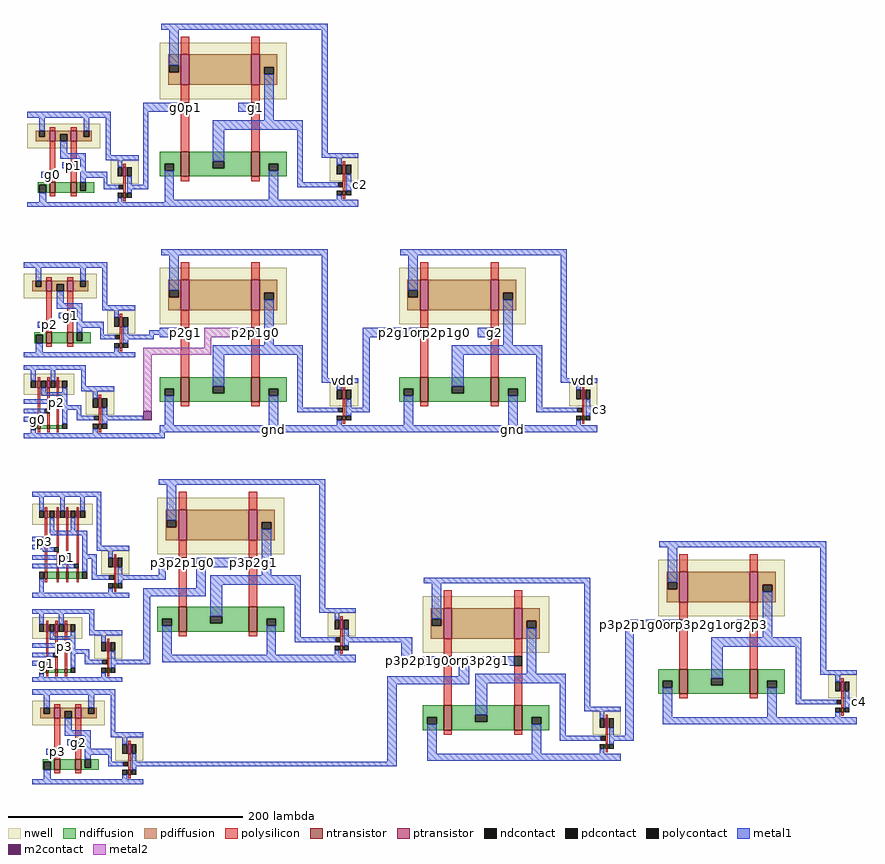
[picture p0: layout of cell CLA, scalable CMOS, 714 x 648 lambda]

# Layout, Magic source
magic
tech scmos
<< nwell >>
rect 81 -104 189 -56
rect 285 -104 393 -56
rect 226 -174 250 -154
rect 430 -174 454 -154
<< ntransistor >>
rect 99 -170 106 -149
rect 159 -170 166 -149
rect 303 -170 310 -149
rect 363 -170 370 -149
rect 237 -186 239 -182
rect 441 -186 443 -182
<< ptransistor >>
rect 99 -92 106 -66
rect 159 -92 166 -66
rect 303 -92 310 -66
rect 363 -92 370 -66
rect 237 -168 239 -160
rect 441 -168 443 -160
<< ndiffusion >>
rect 81 -159 99 -149
rect 81 -165 85 -159
rect 93 -165 99 -159
rect 81 -170 99 -165
rect 106 -157 159 -149
rect 106 -163 126 -157
rect 136 -163 159 -157
rect 106 -170 159 -163
rect 166 -159 189 -149
rect 166 -165 174 -159
rect 182 -165 189 -159
rect 285 -159 303 -149
rect 166 -170 189 -165
rect 285 -165 289 -159
rect 297 -165 303 -159
rect 285 -170 303 -165
rect 310 -157 363 -149
rect 310 -163 330 -157
rect 340 -163 363 -157
rect 310 -170 363 -163
rect 370 -159 393 -149
rect 370 -165 378 -159
rect 386 -165 393 -159
rect 370 -170 393 -165
rect 236 -186 237 -182
rect 239 -186 240 -182
rect 440 -186 441 -182
rect 443 -186 444 -182
<< pdiffusion >>
rect 88 -75 99 -66
rect 88 -81 89 -75
rect 97 -81 99 -75
rect 88 -92 99 -81
rect 106 -92 159 -66
rect 166 -77 181 -66
rect 166 -83 170 -77
rect 178 -83 181 -77
rect 166 -92 181 -83
rect 292 -75 303 -66
rect 292 -81 293 -75
rect 301 -81 303 -75
rect 292 -92 303 -81
rect 310 -92 363 -66
rect 370 -77 385 -66
rect 370 -83 374 -77
rect 382 -83 385 -77
rect 370 -92 385 -83
rect 236 -168 237 -160
rect 239 -168 240 -160
rect 440 -168 441 -160
rect 443 -168 444 -160
<< ndcontact >>
rect 85 -165 93 -159
rect 126 -163 136 -157
rect 174 -165 182 -159
rect 289 -165 297 -159
rect 330 -163 340 -157
rect 378 -165 386 -159
rect 232 -186 236 -182
rect 240 -186 244 -182
rect 436 -186 440 -182
rect 444 -186 448 -182
<< pdcontact >>
rect 89 -81 97 -75
rect 170 -83 178 -77
rect 293 -81 301 -75
rect 374 -83 382 -77
rect 232 -168 236 -160
rect 240 -168 244 -160
rect 436 -168 440 -160
rect 444 -168 448 -160
<< polysilicon >>
rect 99 -66 106 -51
rect 159 -66 166 -51
rect 303 -66 310 -51
rect 363 -66 370 -51
rect 99 -107 106 -92
rect 99 -149 106 -115
rect 159 -107 166 -92
rect 159 -149 166 -115
rect 303 -107 310 -92
rect 303 -149 310 -115
rect 363 -107 370 -92
rect 363 -149 370 -115
rect 237 -160 239 -157
rect 99 -174 106 -170
rect 159 -174 166 -170
rect 237 -182 239 -168
rect 441 -160 443 -157
rect 303 -174 310 -170
rect 363 -174 370 -170
rect 441 -182 443 -168
rect 237 -189 239 -186
rect 441 -189 443 -186
<< polycontact >>
rect 99 -115 106 -107
rect 159 -115 166 -107
rect 303 -115 310 -107
rect 363 -115 370 -107
rect 233 -179 237 -175
rect 437 -179 441 -175
<< metal1 >>
rect 67 77 88 85
rect 67 11 71 77
rect 62 -4 88 0
rect 82 -45 224 -40
rect 286 -45 428 -40
rect 89 -75 97 -45
rect 81 -109 99 -107
rect 72 -113 99 -109
rect 64 -117 76 -113
rect 81 -115 99 -113
rect 155 -115 159 -107
rect 170 -122 178 -83
rect 126 -130 203 -122
rect 126 -157 136 -130
rect 46 -186 67 -182
rect 85 -190 93 -165
rect 174 -190 182 -165
rect 198 -175 203 -130
rect 219 -150 224 -45
rect 293 -75 301 -45
rect 254 -115 303 -107
rect 352 -115 363 -107
rect 219 -154 250 -150
rect 232 -160 236 -154
rect 240 -175 244 -168
rect 254 -175 260 -115
rect 374 -122 382 -83
rect 330 -130 407 -122
rect 330 -157 340 -130
rect 198 -179 233 -175
rect 240 -179 260 -175
rect 240 -182 244 -179
rect 232 -190 236 -186
rect 289 -190 297 -165
rect 378 -190 386 -165
rect 402 -175 407 -130
rect 423 -150 428 -45
rect 423 -154 454 -150
rect 436 -160 440 -154
rect 444 -175 448 -168
rect 402 -179 437 -175
rect 444 -179 458 -175
rect 444 -182 448 -179
rect 436 -190 440 -186
rect 81 -196 454 -190
rect 81 -197 85 -196
rect 42 -201 85 -197
rect 80 -318 86 -303
rect 59 -322 86 -318
rect 112 -311 146 -303
rect 112 -329 120 -311
rect 67 -336 120 -329
rect 67 -390 73 -336
rect 478 -364 513 -356
rect 252 -375 296 -371
rect 53 -394 73 -390
rect 287 -387 296 -375
rect 287 -395 312 -387
rect 336 -395 372 -387
rect 336 -404 345 -395
rect 275 -411 345 -404
rect 275 -477 283 -411
rect 478 -459 485 -364
rect 71 -481 283 -477
<< m2contact >>
rect 148 -115 155 -107
rect 67 -186 74 -178
<< metal2 >>
rect 119 -115 148 -107
rect 119 -124 125 -115
rect 67 -130 125 -124
rect 67 -178 74 -130
use AND2  AND2_0
transform 1 0 -7 0 1 56
box -25 -60 74 21
use OR  OR_0
transform 1 0 106 0 1 135
box -25 -139 148 17
use AND2  AND2_1
transform 1 0 -10 0 1 -72
box -25 -60 74 21
use AND3  AND3_0
transform 1 0 -3 0 1 -171
box -32 -30 49 32
use AND4  AND4_0
transform 1 0 -22 0 1 -269
box -6 -68 81 22
use AND3  AND3_1
transform 1 0 4 0 1 -379
box -32 -30 49 32
use OR  OR_1
transform 1 0 104 0 1 -253
box -25 -139 148 17
use AND2  AND2_2
transform 1 0 -3 0 1 -436
box -25 -60 74 21
use OR  OR_2
transform 1 0 330 0 1 -337
box -25 -139 148 17
use OR  OR_3
transform 1 0 531 0 1 -306
box -25 -139 148 17
<< labels >>
rlabel space -13 21 -8 26 1 g0
rlabel space 99 77 106 85 1 g0p1
rlabel space 159 77 166 85 1 g1
rlabel space 251 13 254 17 7 c2
rlabel metal1 226 -154 250 -150 5 vdd
rlabel metal1 178 -194 178 -194 1 gnd
rlabel metal1 430 -154 454 -150 5 vdd
rlabel metal1 382 -194 382 -194 1 gnd
rlabel space -16 -107 -11 -102 1 p2
rlabel space -9 -173 -5 -169 1 p2
rlabel space -17 -180 -13 -176 1 p1
rlabel space -25 -187 -21 -183 1 g0
rlabel polycontact 99 -115 106 -107 1 p2g1
rlabel polycontact 159 -115 166 -107 1 p2p1g0
rlabel polycontact 303 -115 310 -107 1 p2g1orp2p1g0
rlabel polycontact 363 -115 370 -107 1 g2
rlabel metal1 455 -179 458 -175 7 c3
rlabel space 5 29 10 34 1 p1
rlabel space 2 -99 7 -94 1 g1
rlabel space -19 -291 -15 -287 1 p3
rlabel space -9 -298 -5 -294 1 p2
rlabel space -1 -305 3 -301 1 p1
rlabel space 8 -312 12 -308 1 g0
rlabel space -2 -381 2 -377 1 p3
rlabel space -10 -388 -6 -384 1 p2
rlabel space -18 -395 -14 -391 1 g1
rlabel space 9 -463 14 -458 1 g2
rlabel space -9 -471 -4 -466 1 p3
rlabel space 97 -311 104 -303 1 p3p2p1g0
rlabel space 157 -311 164 -303 1 p3p2g1
rlabel space 323 -395 330 -387 1 p3p2p1g0orp3p2g1
rlabel space 383 -395 390 -387 1 p3g2
rlabel space 524 -364 531 -356 1 p3p2p1g0orp3p2g1org2p3
rlabel space 584 -364 591 -356 1 g3
rlabel space 676 -428 679 -424 7 c4
<< end >>

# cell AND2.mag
magic
tech scmos
<< nwell >>
rect -25 -10 37 11
<< ntransistor >>
rect -6 -48 -1 -39
rect 12 -48 17 -39
<< ptransistor >>
rect -6 -4 -1 5
rect 12 -4 17 5
<< ndiffusion >>
rect -16 -41 -6 -39
rect -16 -48 -15 -41
rect -9 -48 -6 -41
rect -1 -48 12 -39
rect 17 -46 20 -39
rect 25 -46 32 -39
rect 17 -48 32 -46
<< pdiffusion >>
rect -18 0 -15 5
rect -10 0 -6 5
rect -18 -4 -6 0
rect -1 2 12 5
rect -1 -4 3 2
rect 9 -4 12 2
rect 17 0 23 5
rect 28 0 30 5
rect 17 -4 30 0
<< ndcontact >>
rect -15 -48 -9 -41
rect 20 -46 25 -39
<< pdcontact >>
rect -15 0 -10 5
rect 3 -4 9 2
rect 23 0 28 5
<< polysilicon >>
rect -6 5 -1 8
rect 12 5 17 8
rect -6 -30 -1 -4
rect -6 -39 -1 -35
rect 12 -22 17 -4
rect 12 -39 17 -27
rect 53 -45 57 -41
rect -6 -51 -1 -48
rect 12 -51 17 -48
<< polycontact >>
rect -6 -35 -1 -30
rect 12 -27 17 -22
<< metal1 >>
rect -25 16 46 21
rect -15 5 -10 16
rect 23 5 28 16
rect 3 -14 9 -4
rect 3 -19 25 -14
rect 5 -27 12 -22
rect 20 -30 25 -19
rect 42 -20 46 16
rect -13 -35 -6 -30
rect 20 -35 43 -30
rect 20 -39 25 -35
rect 40 -41 43 -35
rect 40 -45 42 -41
rect -15 -56 -9 -48
rect -25 -60 46 -56
use NOTNOT  NOTNOT_0
transform 1 0 46 0 1 -40
box -4 -20 28 24
<< labels >>
rlabel metal1 4 18 4 18 5 vdd
<< end >>

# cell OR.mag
magic
tech scmos
<< nwell >>
rect -25 -47 83 1
<< ntransistor >>
rect -7 -113 0 -92
rect 53 -113 60 -92
<< ptransistor >>
rect -7 -35 0 -9
rect 53 -35 60 -9
<< ndiffusion >>
rect -25 -102 -7 -92
rect -25 -108 -21 -102
rect -13 -108 -7 -102
rect -25 -113 -7 -108
rect 0 -100 53 -92
rect 0 -106 20 -100
rect 30 -106 53 -100
rect 0 -113 53 -106
rect 60 -102 83 -92
rect 60 -108 68 -102
rect 76 -108 83 -102
rect 60 -113 83 -108
<< pdiffusion >>
rect -18 -18 -7 -9
rect -18 -24 -17 -18
rect -9 -24 -7 -18
rect -18 -35 -7 -24
rect 0 -35 53 -9
rect 60 -20 75 -9
rect 60 -26 64 -20
rect 72 -26 75 -20
rect 60 -35 75 -26
<< ndcontact >>
rect -21 -108 -13 -102
rect 20 -106 30 -100
rect 68 -108 76 -102
<< pdcontact >>
rect -17 -24 -9 -18
rect 64 -26 72 -20
<< polysilicon >>
rect -7 -9 0 6
rect 53 -9 60 6
rect -7 -50 0 -35
rect -7 -92 0 -58
rect 53 -50 60 -35
rect 53 -92 60 -58
rect -7 -117 0 -113
rect 53 -117 60 -113
rect 127 -122 131 -118
<< polycontact >>
rect -7 -58 0 -50
rect 53 -58 60 -50
<< metal1 >>
rect -24 12 118 17
rect -17 -18 -9 12
rect -18 -58 -7 -50
rect 42 -58 53 -50
rect 64 -65 72 -26
rect 20 -73 97 -65
rect 20 -100 30 -73
rect -21 -133 -13 -108
rect 68 -133 76 -108
rect 92 -118 97 -73
rect 113 -93 118 12
rect 113 -97 122 -93
rect 92 -122 116 -118
rect -21 -137 122 -133
rect -21 -139 144 -137
use NOTNOT  NOTNOT_0
transform 1 0 120 0 1 -117
box -4 -20 28 24
<< end >>

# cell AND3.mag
magic
tech scmos
<< nwell >>
rect -32 7 11 25
<< ntransistor >>
rect -20 -22 -18 -19
rect -12 -22 -10 -19
rect -4 -22 -2 -19
<< ptransistor >>
rect -20 13 -18 19
rect -12 13 -10 19
rect -4 13 -2 19
<< ndiffusion >>
rect -22 -22 -20 -19
rect -18 -22 -12 -19
rect -10 -22 -4 -19
rect -2 -22 1 -19
<< pdiffusion >>
rect -22 13 -20 19
rect -18 13 -17 19
rect -13 13 -12 19
rect -10 13 -9 19
rect -5 13 -4 19
rect -2 13 1 19
<< ndcontact >>
rect -26 -23 -22 -19
rect 1 -22 5 -18
<< pdcontact >>
rect -26 13 -22 19
rect -17 13 -13 19
rect -9 13 -5 19
rect 1 13 5 19
<< polysilicon >>
rect -20 19 -18 22
rect -12 19 -10 22
rect -4 19 -2 22
rect -20 -12 -18 13
rect -12 -5 -10 13
rect -4 3 -2 13
rect -20 -19 -18 -16
rect -12 -19 -10 -9
rect -4 -19 -2 -1
rect -20 -25 -18 -22
rect -12 -25 -10 -22
rect -4 -25 -2 -22
<< polycontact >>
rect -6 -1 -2 3
rect -14 -9 -10 -5
rect -22 -16 -18 -12
<< metal1 >>
rect -32 28 21 32
rect -26 19 -22 28
rect -9 19 -5 28
rect -17 9 -13 13
rect 1 9 5 13
rect 17 10 21 28
rect -17 6 5 9
rect -32 -1 -6 3
rect 1 -2 5 6
rect -32 -9 -14 -5
rect 1 -6 17 -2
rect -32 -16 -22 -12
rect 1 -18 5 -6
rect 13 -15 17 -6
rect -26 -26 -22 -23
rect -32 -30 21 -26
use NOT  NOT_0
transform 1 0 21 0 1 -10
box -4 -20 28 24
<< labels >>
rlabel metal1 -12 -30 -7 -26 1 gnd
rlabel metal1 9 -4 9 -4 1 out1
rlabel metal1 -6 30 -6 30 5 vdd
<< end >>

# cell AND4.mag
magic
tech scmos
<< nwell >>
rect -6 -6 46 12
<< ntransistor >>
rect 5 -52 7 -46
rect 15 -52 17 -46
rect 23 -52 25 -46
rect 32 -52 34 -46
<< ptransistor >>
rect 5 0 7 6
rect 15 0 17 6
rect 23 0 25 6
rect 32 0 34 6
<< ndiffusion >>
rect 4 -52 5 -46
rect 7 -52 15 -46
rect 17 -52 23 -46
rect 25 -52 32 -46
rect 34 -52 37 -46
<< pdiffusion >>
rect 4 0 5 6
rect 7 0 9 6
rect 13 0 15 6
rect 17 0 18 6
rect 22 0 23 6
rect 25 0 27 6
rect 31 0 32 6
rect 34 0 35 6
rect 39 0 40 6
<< ndcontact >>
rect 0 -52 4 -46
rect 37 -52 41 -46
<< pdcontact >>
rect 0 0 4 6
rect 9 0 13 6
rect 18 0 22 6
rect 27 0 31 6
rect 35 0 39 6
<< polysilicon >>
rect 5 6 7 9
rect 15 6 17 9
rect 23 6 25 9
rect 32 6 34 9
rect 5 -16 7 0
rect 5 -46 7 -20
rect 15 -25 17 0
rect 15 -46 17 -29
rect 23 -32 25 0
rect 23 -46 25 -36
rect 32 -39 34 0
rect 32 -46 34 -43
rect 5 -55 7 -52
rect 15 -55 17 -52
rect 23 -55 25 -52
rect 32 -55 34 -52
<< polycontact >>
rect 3 -20 7 -16
rect 13 -29 17 -25
rect 21 -36 25 -32
rect 30 -43 34 -39
<< metal1 >>
rect -6 18 53 22
rect 0 6 4 18
rect 18 6 22 18
rect 35 6 39 18
rect 9 -11 13 0
rect 27 -11 31 0
rect 9 -13 41 -11
rect 10 -15 41 -13
rect -6 -20 3 -16
rect -6 -24 3 -23
rect -6 -25 6 -24
rect -6 -27 13 -25
rect 3 -29 13 -27
rect 37 -31 41 -15
rect 49 -28 53 18
rect -6 -36 21 -32
rect 37 -35 49 -31
rect -6 -43 30 -39
rect 37 -46 41 -35
rect 0 -64 4 -52
rect 45 -53 49 -35
rect -6 -68 53 -64
use NOT  NOT_0
transform 1 0 53 0 1 -48
box -4 -20 28 24
<< labels >>
rlabel metal1 22 20 22 20 5 vdd
rlabel metal1 42 -33 42 -33 1 out1
rlabel metal1 20 -66 20 -66 1 gnd
<< end >>

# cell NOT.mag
magic
tech scmos
<< nwell >>
rect 0 0 24 20
<< ntransistor >>
rect 11 -12 13 -8
<< ptransistor >>
rect 11 6 13 14
<< ndiffusion >>
rect 10 -12 11 -8
rect 13 -12 14 -8
<< pdiffusion >>
rect 10 6 11 14
rect 13 6 14 14
<< ndcontact >>
rect 6 -12 10 -8
rect 14 -12 18 -8
<< pdcontact >>
rect 6 6 10 14
rect 14 6 18 14
<< polysilicon >>
rect 11 14 13 17
rect 11 -8 13 6
rect 11 -15 13 -12
<< polycontact >>
rect 7 -5 11 -1
<< metal1 >>
rect 0 20 24 24
rect 6 14 10 20
rect 14 -1 18 6
rect -4 -5 7 -1
rect 14 -5 28 -1
rect 14 -8 18 -5
rect 6 -16 10 -12
rect 0 -20 24 -16
<< labels >>
rlabel metal1 0 20 24 24 5 vdd
rlabel metal1 0 -20 24 -16 1 gnd
<< end >>

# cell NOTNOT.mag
magic
tech scmos
<< nwell >>
rect 0 0 24 20
<< ntransistor >>
rect 11 -12 13 -8
<< ptransistor >>
rect 11 6 13 14
<< ndiffusion >>
rect 10 -12 11 -8
rect 13 -12 14 -8
<< pdiffusion >>
rect 10 6 11 14
rect 13 6 14 14
<< ndcontact >>
rect 6 -12 10 -8
rect 14 -12 18 -8
<< pdcontact >>
rect 6 6 10 14
rect 14 6 18 14
<< polysilicon >>
rect 11 14 13 17
rect 11 -8 13 6
rect 11 -15 13 -12
<< polycontact >>
rect 7 -5 11 -1
<< metal1 >>
rect 0 20 24 24
rect 6 14 10 20
rect 14 -1 18 6
rect -4 -5 7 -1
rect 14 -5 28 -1
rect 14 -8 18 -5
rect 6 -16 10 -12
rect 0 -20 24 -16
<< labels >>
rlabel metal1 0 20 24 24 5 vdd
rlabel metal1 0 -20 24 -16 1 gnd
<< end >>
